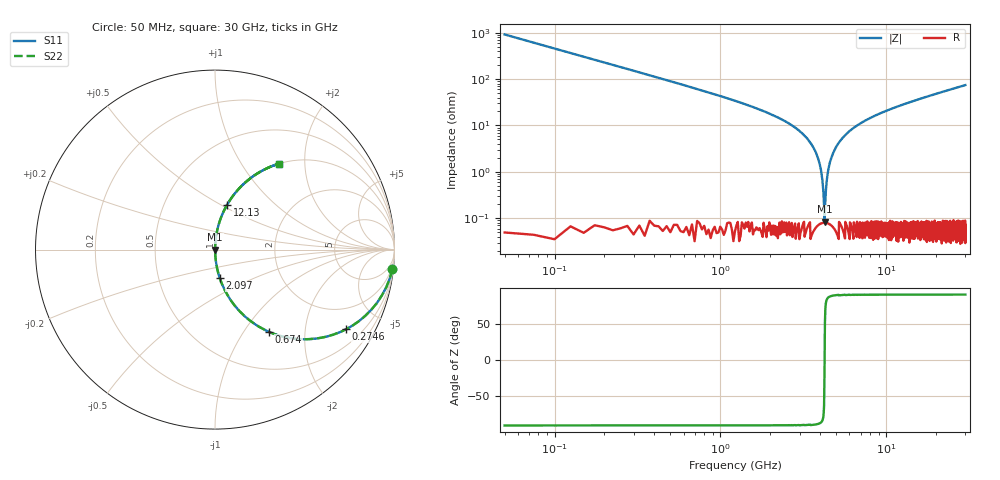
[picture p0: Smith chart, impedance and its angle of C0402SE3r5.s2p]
!	AVX Thin Film Operation 	Date: April 2014
!	Description: Accu-P® Series, Thin Film  SMD RF Capacitor
!	Part Number: 04025J3R5ABSTR
# MHZ S MA R 50
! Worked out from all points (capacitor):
!   1201 points, 50 MHz to 30 GHz, reference 50 ohm
!   read as one part in series: C = 3.5 pF near 199.8 MHz
!   lowest |Z| = 84.3 mohm at 4.243 GHz (marker M1)
!   series resonance near 4.248 GHz, so ESL is about 400 pH
!   S11 on the Smith chart (normalised r, x): 50 MHz: 1, -18; 274.6 MHz: 1.00, -3.30; 674 MHz: 1.00, -1.31; 2.097 GHz: 1.00, -0.33; 12.13 GHz: 1.00, +0.54; 30 GHz: 1.00, +1.48
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50  0.994 -6.3  0.109 83.7  0.109 83.7  0.994 -6.3
274.625  0.855 -31.2  0.518 58.7  0.518 58.7  0.855 -31.2
673.958  0.549 -56.6  0.835 33.3  0.835 33.3  0.549 -56.6
1173.125  0.337 -70.2  0.941 19.7  0.941 19.7  0.337 -70.2
2096.583  0.162 -80.5  0.986 9.3  0.986 9.3  0.162 -80.5
3045  0.072 -85.4  0.997 4.2  0.997 4.2  0.072 -85.4
3619.042  0.034 -87.0  0.999 2.0  0.999 2.0  0.034 -87.0
3943.5  0.016 -86.9  0.999 0.9  0.999 0.9  0.016 -86.9
4143.167  0.005395 -83.3  0.999 0.3  0.999 0.3  0.005395 -83.3
4243  0.0006564 -23.9  0.999 0.0  0.999 0.0  0.0006564 -23.9
4342.833  0.004748 82.5  0.999 -0.3  0.999 -0.3  0.004748 82.5
4467.625  0.011 86.2  0.999 -0.6  0.999 -0.6  0.011 86.2
4592.417  0.017 87.0  0.999 -1.0  0.999 -1.0  0.017 87.0
5041.667  0.037 87.0  0.999 -2.1  0.999 -2.1  0.037 87.0
5815.375  0.068 85.6  0.997 -3.9  0.997 -3.9  0.068 85.6
6788.75  0.103 83.7  0.994 -5.9  0.994 -5.9  0.103 83.7
10058.29  0.204 78.1  0.978 -11.8  0.978 -11.8  0.204 78.1
12129.83  0.259 74.9  0.965 -15.0  0.965 -15.0  0.259 74.9
15025  0.329 70.7  0.944 -19.2  0.944 -19.2  0.329 70.7
20016.67  0.434 64.2  0.901 -25.7  0.901 -25.7  0.434 64.2
25033.29  0.522 58.5  0.852 -31.5  0.852 -31.5  0.522 58.5
30000  0.595 53.4  0.803 -36.5  0.803 -36.5  0.595 53.4
